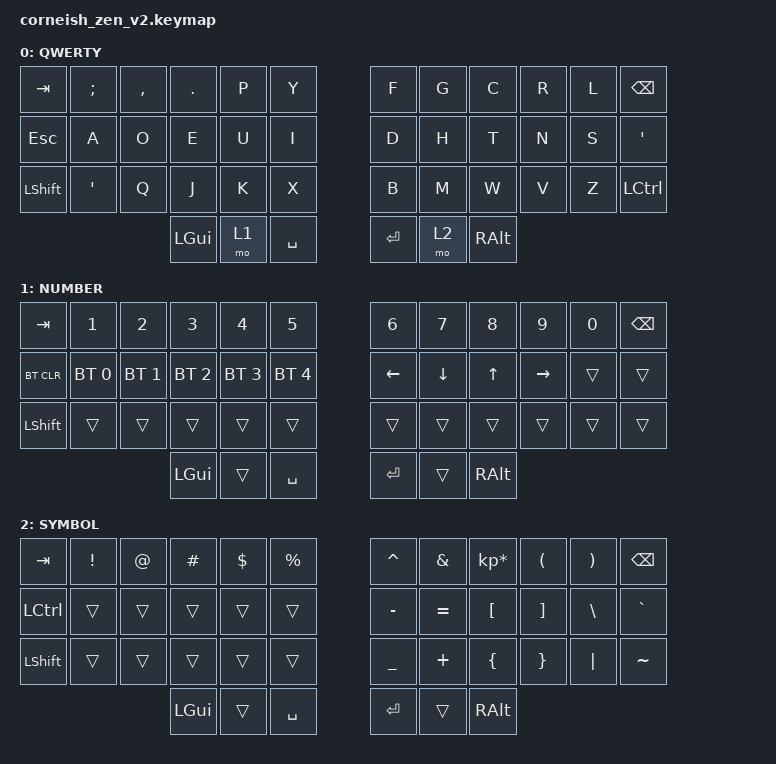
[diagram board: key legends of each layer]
#include <behaviors.dtsi>
#include <dt-bindings/zmk/keys.h>
#include <dt-bindings/zmk/bt.h>

/ {
  chosen {
    zmk,matrix_transform = &default_transform;
    //zmk,matrix_transform = &five_column_transform;
  };
};

/ {
        keymap {
                compatible = "zmk,keymap";

                default_layer {
                        label = "QWERTY";
// -----------------------------------------------------------------------------------------
// |  TAB |  ;  |  ,  |  .  |  P  |  Y  |   |  F  |  G   |  C  |  R  |  L  | BKSP |
// | ESC  |  A  |  O  |  E  |  U  |  I  |   |  D  |  H   |  T  |  N  |  S  |  '   |
// | SHFT |  '  |  Q  |  J  |  K  |  X  |   |  B  |  M   |  W  |  V  |  Z  | CTRL |
//                    | GUI | LWR | SPC |   | ENT | RSE  | ALT |
                        bindings = <
   &kp TAB   &kp SEMI &kp COMMA &kp DOT &kp P &kp Y   &kp F &kp G &kp C &kp R &kp L &kp BSPC
   &kp ESC   &kp A    &kp O     &kp E   &kp U &kp I   &kp D &kp H &kp T &kp N &kp S &kp SQT
   &kp LSHFT &kp SQT  &kp Q     &kp J   &kp K &kp X   &kp B &kp M &kp W &kp V &kp Z &kp LCTRL
                  &kp LGUI &mo 1 &kp SPACE   &kp RET &mo 2 &kp RALT
                        >;
                };
                lower_layer {
                        label = "NUMBER";
// -----------------------------------------------------------------------------------------
// |  TAB |  1  |  2  |  3  |  4  |  5  |   |  6  |  7  |  8  |  9  |  0  | BKSP |
// | BTCLR| BT1 | BT2 | BT3 | BT4 | BT5 |   | LFT | DWN |  UP | RGT |     |      |
// | SHFT |     |     |     |     |     |   |     |     |     |     |     |      |
//                    | GUI |     | SPC |   | ENT |     | ALT |
                        bindings = <
   &kp TAB    &kp N1       &kp N2       &kp N3       &kp N4       &kp N5         &kp N6   &kp N7   &kp N8 &kp N9    &kp N0 &kp BSPC
   &bt BT_CLR &bt BT_SEL 0 &bt BT_SEL 1 &bt BT_SEL 2 &bt BT_SEL 3 &bt BT_SEL 4   &kp LEFT &kp DOWN &kp UP &kp RIGHT &trans &trans
   &kp LSHFT  &trans       &trans       &trans       &trans       &trans         &trans   &trans   &trans &trans    &trans &trans
                          	        &kp LGUI     &trans       &kp SPACE      &kp RET  &trans   &kp RALT
                        >;
                };

                raise_layer {
                        label = "SYMBOL";
// -----------------------------------------------------------------------------------------
// |  TAB |  !  |  @  |  #  |  $  |  %  |   |  ^  |  &  |  *  |  (  |  )  | BKSP |
// | CTRL |     |     |     |     |     |   |  -  |  =  |  [  |  ]  |  \  |  `   |
// | SHFT |     |     |     |     |     |   |  _  |  +  |  {  |  }  | "|" |  ~   |
//                    | GUI |     | SPC |   | ENT |     | ALT |
                        bindings = <
   &kp  TAB  &kp EXCL &kp AT &kp HASH &kp DLLR &kp PRCNT   &kp CARET &kp AMPS  &kp KP_MULTIPLY &kp LPAR &kp RPAR &kp BSPC
   &kp LCTRL &trans   &trans &trans   &trans   &trans      &kp MINUS &kp EQUAL &kp LBKT        &kp RBKT &kp BSLH &kp GRAVE
   &kp LSHFT &trans   &trans &trans   &trans   &trans      &kp UNDER &kp PLUS  &kp LBRC        &kp RBRC &kp PIPE &kp TILDE
                    	     &kp LGUI &trans   &kp SPACE   &kp RET   &trans    &kp RALT
                        >;
                };
        };
};
